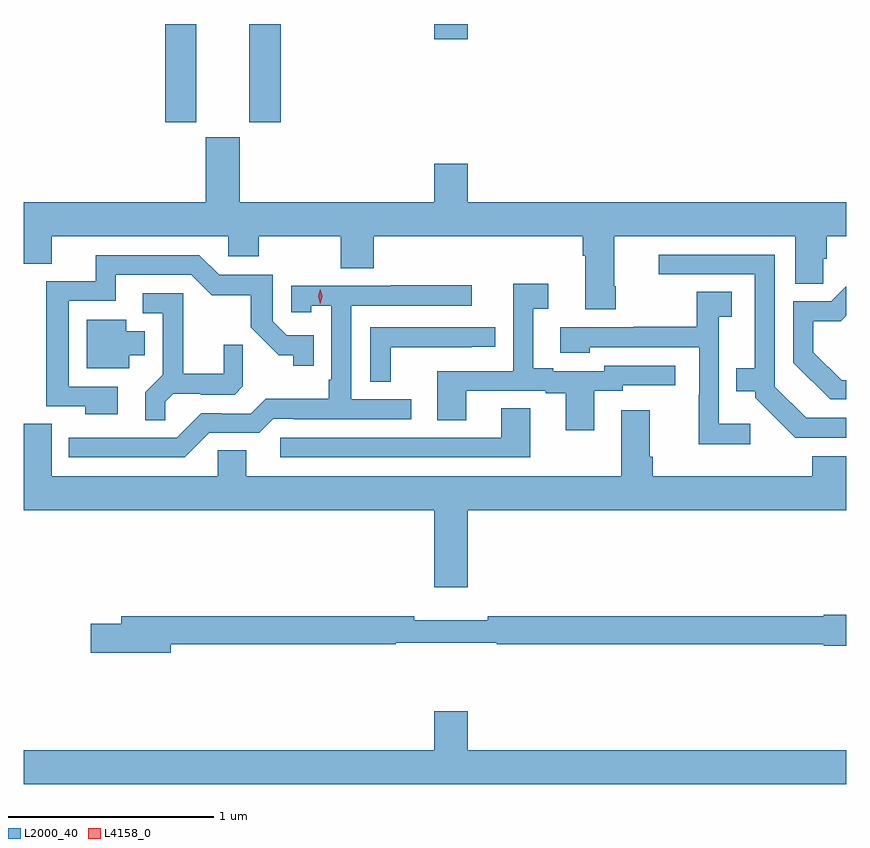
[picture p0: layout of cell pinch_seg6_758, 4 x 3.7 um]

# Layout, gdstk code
import gdstk
lib = gdstk.Library(unit=1e-6, precision=1e-09)
def R(c, l, rs):  # rectangles x0, y0, x1, y1
    for r in rs: c.add(gdstk.rectangle(r[:2], r[2:], *l))
def P(c, l, *ps):  # polygons
    for p in ps: c.add(gdstk.Polygon(p, *l))
L2000_40 = (2000, 40)
L4158_0 = (4158, 0)

pinch_seg6_758 = lib.new_cell('pinch_seg6_758')
R(pinch_seg6_758, L2000_40, [(343.52,979.857,343.672,980.336), (343.928,979.857,344.081,980.336), (344.828,980.262,344.992,980.336)])
P(pinch_seg6_758, L2000_40, [(345.711,979.06),(345.703,979.06),(345.703,979.304),(346.583,979.304),(346.583,979.072),(346.721,979.072),(346.721,979.194),(346.736,979.194),(346.736,979.304),(346.832,979.304),(346.832,979.468),(344.992,979.468),(344.992,979.657),(344.828,979.657),(344.828,979.468),(343.882,979.468),(343.882,979.785),(343.718,979.785),(343.718,979.468),(342.832,979.468),(342.832,979.171),(342.967,979.171),(342.967,979.304),(343.827,979.304),(343.827,979.206),(343.974,979.206),(343.974,979.304),(344.374,979.304),(344.374,979.147),(344.534,979.147),(344.534,979.304),(345.551,979.304),(345.551,979.208),(345.563,979.208),(345.563,978.948),(345.711,978.948)],
  [(346.832,978.42),(346.638,978.42),(346.485,978.573),(346.485,979.215),(345.921,979.215),(345.921,979.119),(346.388,979.119),(346.388,978.661),(346.297,978.661),(346.297,978.551),(346.389,978.551),(346.389,978.519),(346.584,978.324),(346.832,978.324)],
  [(343.288,978.573),(343.05,978.573),(343.05,978.99),(343.279,978.99),(343.279,979.116),(343.647,979.116),(343.746,979.018),(343.935,979.018),(343.935,978.862),(344.072,978.725),(344.142,978.725),(344.142,978.675),(344.243,978.675),(344.243,978.822),(344.112,978.822),(344.043,978.891),(344.043,979.116),(343.782,979.116),(343.686,979.212),(343.181,979.212),(343.181,979.086),(342.942,979.086),(342.942,978.477),(343.132,978.477),(343.132,978.437),(343.288,978.437)],
  [(345.607,978.552),(345.744,978.552),(345.744,978.579),(346,978.579),(346,978.675),(345.654,978.675),(345.654,978.648),(345.406,978.648),(345.406,978.661),(345.31,978.661),(345.31,978.952),(345.382,978.952),(345.382,979.072),(345.213,979.072),(345.213,978.648),(344.843,978.648),(344.843,978.409),(344.983,978.409),(344.983,978.552),(345.371,978.552),(345.371,978.54),(345.467,978.54),(345.467,978.36),(345.607,978.36)],
  [(343.734,978.348),(343.977,978.348),(344.046,978.417),(344.146,978.417),(344.146,978.414),(344.716,978.414),(344.716,978.51),(344.424,978.51),(344.424,978.966),(345.01,978.966),(345.01,979.065),(344.617,979.065),(344.617,979.062),(344.133,979.062),(344.133,978.933),(344.229,978.933),(344.229,978.965),(344.328,978.965),(344.328,978.607),(344.316,978.607),(344.316,978.514),(344.008,978.514),(343.935,978.441),(343.796,978.441),(343.796,978.444),(343.695,978.444),(343.575,978.324),(343.052,978.324),(343.052,978.228),(343.614,978.228)],
  [(346.832,978.603),(346.809,978.603),(346.672,978.74),(346.672,978.89),(346.805,978.89),(346.832,978.917),(346.832,979.061),(346.758,978.987),(346.575,978.987),(346.575,978.689),(346.754,978.51),(346.832,978.51)],
  [(346.366,978.391),(346.212,978.391),(346.212,978.913),(346.276,978.913),(346.276,979.034),(346.104,979.034),(346.104,978.864),(345.799,978.864),(345.799,978.861),(345.441,978.861),(345.441,978.737),(345.585,978.737),(345.585,978.765),(346.116,978.765),(346.116,978.533),(346.114,978.533),(346.114,978.293),(346.366,978.293)],
  [(343.521,978.5),(343.558,978.537),(343.692,978.537),(343.692,978.534),(343.857,978.534),(343.898,978.575),(343.898,978.777),(343.804,978.777),(343.804,978.634),(343.607,978.634),(343.607,979.026),(343.41,979.026),(343.41,978.93),(343.509,978.93),(343.509,978.631),(343.423,978.545),(343.423,978.409),(343.521,978.409)],
  [(343.345,978.725),(343.42,978.725),(343.42,978.841),(343.33,978.841),(343.33,978.898),(343.139,978.898),(343.139,978.662),(343.345,978.662)],
  [(344.616,978.765),(345.011,978.765),(345.011,978.766),(345.124,978.766),(345.124,978.861),(344.517,978.861),(344.517,978.595),(344.616,978.595)],
  [(345.295,978.467),(345.155,978.467),(345.155,978.324),(344.079,978.324),(344.079,978.228),(345.295,978.228)],
  [(344.992,977.972),(346.832,977.972),(346.832,978.235),(346.667,978.235),(346.667,978.136),(345.89,978.136),(345.89,978.232),(345.877,978.232),(345.877,978.457),(345.737,978.457),(345.737,978.136),(343.915,978.136),(343.915,978.263),(343.776,978.263),(343.776,978.136),(342.967,978.136),(342.967,978.392),(342.832,978.392),(342.832,977.972),(344.828,977.972),(344.828,977.598),(344.992,977.598)],
  [(343.546,977.32),(344.642,977.32),(344.642,977.328),(345.132,977.328),(345.132,977.32),(346.722,977.32),(346.722,977.312),(346.832,977.312),(346.832,977.464),(346.722,977.464),(346.722,977.456),(345.088,977.456),(345.088,977.437),(344.732,977.437),(344.732,977.456),(343.307,977.456),(343.307,977.42),(343.158,977.42),(343.158,977.278),(343.546,977.278)],
  [(346.832,976.804),(344.992,976.804),(344.992,976.993),(344.828,976.993),(344.828,976.804),(342.832,976.804),(342.832,976.64),(346.832,976.64)])
P(pinch_seg6_758, L4158_0, [(344.274,978.975),(344.274,978.975),(344.264,979.011),(344.274,979.047),(344.274,979.047),(344.275,979.047),(344.284,979.011),(344.275,978.975)])

lib.write_gds('pinch_seg6_758.gds')
